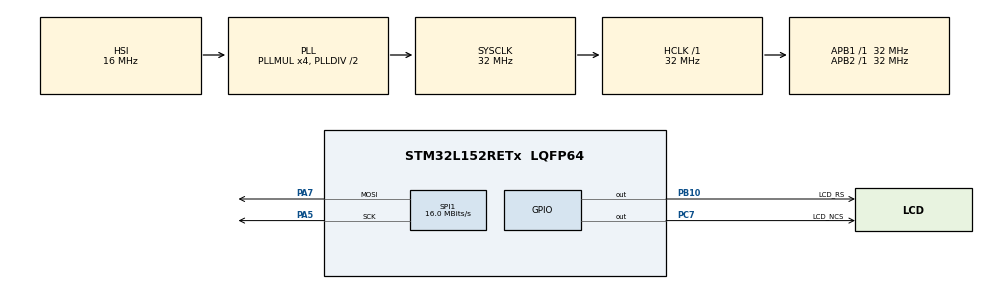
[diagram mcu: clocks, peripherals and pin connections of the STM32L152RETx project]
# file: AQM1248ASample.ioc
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Dma.Request0=SPI1_TX
Dma.SPI1_TX.0.Direction=DMA_MEMORY_TO_PERIPH
Dma.SPI1_TX.0.Instance=DMA1_Channel3
Dma.SPI1_TX.0.MemDataAlignment=DMA_MDATAALIGN_BYTE
Dma.SPI1_TX.0.MemInc=DMA_MINC_ENABLE
Dma.SPI1_TX.0.Mode=DMA_NORMAL
Dma.SPI1_TX.0.PeriphDataAlignment=DMA_PDATAALIGN_BYTE
Dma.SPI1_TX.0.PeriphInc=DMA_PINC_DISABLE
Dma.SPI1_TX.0.Priority=DMA_PRIORITY_LOW
Mcu.Family=STM32L1
Mcu.Name=STM32L152RETx
Mcu.Package=LQFP64
NVIC.DMA1_Channel3_IRQn=true\:0\:0\:false\:false\:true\:false
NVIC.PriorityGroup=NVIC_PRIORITYGROUP_4
PA13.Mode=Serial_Wire
PA13.Signal=SYS_JTMS-SWDIO
PA14.Mode=Serial_Wire
PA14.Signal=SYS_JTCK-SWCLK
PA5.Mode=TX_Only_Simplex_Unidirect_Master
PA5.Signal=SPI1_SCK
PA7.Mode=TX_Only_Simplex_Unidirect_Master
PA7.Signal=SPI1_MOSI
PB10.GPIO_Label=LCD_RS
PB10.Signal=GPIO_Output
PC14-OSC32_IN.Mode=LSE-External-Oscillator
PC14-OSC32_IN.Signal=RCC_OSC32_IN
PC15-OSC32_OUT.Mode=LSE-External-Oscillator
PC15-OSC32_OUT.Signal=RCC_OSC32_OUT
PC7.GPIO_Label=LCD_NCS
PC7.GPIO_PuPd=GPIO_NOPULL
PC7.Signal=GPIO_Output
PH0-OSC_IN.Mode=HSE-External-Oscillator
PH0-OSC_IN.Signal=RCC_OSC_IN
PH1-OSC_OUT.Mode=HSE-External-Oscillator
PH1-OSC_OUT.Signal=RCC_OSC_OUT
ProjectManager.HeapSize=0x200
ProjectManager.StackSize=0x400
ProjectManager.TargetToolchain=SW4STM32
RCC.48MHZClocksFreq_Value=32000000
RCC.AHBFreq_Value=32000000
RCC.APB1Freq_Value=32000000
RCC.APB1TimFreq_Value=32000000
RCC.APB2Freq_Value=32000000
RCC.APB2TimFreq_Value=32000000
RCC.HCLKFreq_Value=32000000
RCC.HSE_VALUE=24000000
RCC.HSI_VALUE=16000000
RCC.MSI_VALUE=2097000
RCC.PLLMUL=RCC_PLL_MUL4
RCC.SYSCLKFreq_VALUE=32000000
RCC.SYSCLKSource=RCC_SYSCLKSOURCE_PLLCLK
RCC.VCOOutputFreq_Value=64000000
SPI1.CalculateBaudRate=16.0 MBits/s
SPI1.Direction=SPI_DIRECTION_2LINES
SPI1.Mode=SPI_MODE_MASTER
SPI1.VirtualType=VM_MASTER
board=custom

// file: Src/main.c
/**
  ******************************************************************************
  * @file           : main.c
  * @brief          : Main program body
  ******************************************************************************
  ** This notice applies to any and all portions of this file
  * that are not between comment pairs USER CODE BEGIN and
  * USER CODE END. Other portions of this file, whether
  * inserted by the user or by software development tools
  * are owned by their respective copyright owners.
  *
  * COPYRIGHT(c) 2018 STMicroelectronics
  *
  * Redistribution and use in source and binary forms, with or without modification,
  * are permitted provided that the following conditions are met:
  *   1. Redistributions of source code must retain the above copyright notice,
  *      this list of conditions and the following disclaimer.
  *   2. Redistributions in binary form must reproduce the above copyright notice,
  *      this list of conditions and the following disclaimer in the documentation
  *      and/or other materials provided with the distribution.
  *   3. Neither the name of STMicroelectronics nor the names of its contributors
  *      may be used to endorse or promote products derived from this software
  *      without specific prior written permission.
  *
  * THIS SOFTWARE IS PROVIDED BY THE COPYRIGHT HOLDERS AND CONTRIBUTORS "AS IS"
  * AND ANY EXPRESS OR IMPLIED WARRANTIES, INCLUDING, BUT NOT LIMITED TO, THE
  * IMPLIED WARRANTIES OF MERCHANTABILITY AND FITNESS FOR A PARTICULAR PURPOSE ARE
  * DISCLAIMED. IN NO EVENT SHALL THE COPYRIGHT HOLDER OR CONTRIBUTORS BE LIABLE
  * FOR ANY DIRECT, INDIRECT, INCIDENTAL, SPECIAL, EXEMPLARY, OR CONSEQUENTIAL
  * DAMAGES (INCLUDING, BUT NOT LIMITED TO, PROCUREMENT OF SUBSTITUTE GOODS OR
  * SERVICES; LOSS OF USE, DATA, OR PROFITS; OR BUSINESS INTERRUPTION) HOWEVER
  * CAUSED AND ON ANY THEORY OF LIABILITY, WHETHER IN CONTRACT, STRICT LIABILITY,
  * OR TORT (INCLUDING NEGLIGENCE OR OTHERWISE) ARISING IN ANY WAY OUT OF THE USE
  * OF THIS SOFTWARE, EVEN IF ADVISED OF THE POSSIBILITY OF SUCH DAMAGE.
  *
  ******************************************************************************
  */
#include "main.h"
#include "stm32l1xx_hal.h"

SPI_HandleTypeDef hspi1;
DMA_HandleTypeDef hdma_spi1_tx;

/* USER CODE BEGIN PV */
/* Private variables ---------------------------------------------------------*/

/* USER CODE END PV */

void SystemClock_Config(void);
static void MX_GPIO_Init(void);
static void MX_DMA_Init(void);
static void MX_SPI1_Init(void);

/* USER CODE BEGIN PFP */
/* Private function prototypes -----------------------------------------------*/

/* USER CODE END PFP */

/* USER CODE BEGIN 0 */

static const uint8_t display_data[768] = {
    // page 0
    0xff, 0xff, 0x07, 0x07, 0x07, 0xff, 0xff, 0xff, 0xff, 0xff, 0xff, 0xff, 0xff, 0xff, 0xff, 0xff,
    0xff, 0xff, 0xff, 0x07, 0x07, 0x07, 0xff, 0xff, 0xff, 0xff, 0xff, 0xff, 0xff, 0xff, 0xff, 0xff,
    0xff, 0xff, 0xff, 0xff, 0xff, 0xff, 0xff, 0xff, 0xff, 0xff, 0xff, 0xff, 0xff, 0xff, 0xff, 0xff,
    0xff, 0x01, 0x01, 0x01, 0xff, 0xff, 0xff, 0xff, 0xff, 0xff, 0x01, 0x01, 0x01, 0xff, 0xff, 0xff,
    0xff, 0xff, 0xff, 0xff, 0xff, 0xff, 0xff, 0xff, 0xff, 0xff, 0xff, 0xff, 0xff, 0xff, 0xff, 0xff,
    0xff, 0xff, 0xff, 0xff, 0xff, 0xff, 0xff, 0xff, 0xff, 0xff, 0xff, 0xff, 0xff, 0xff, 0xff, 0xff,
    0xff, 0xff, 0xff, 0xff, 0xff, 0xff, 0xff, 0xff, 0xff, 0xff, 0xff, 0xff, 0xff, 0xff, 0xff, 0xff,
    0xff, 0xff, 0xff, 0xff, 0xff, 0xff, 0xff, 0xff, 0xff, 0xff, 0xff, 0xff, 0xff, 0xff, 0xff, 0xff,

    // page 1
    0xff, 0xff, 0x00, 0x00, 0x00, 0x1f, 0x1f, 0x1f, 0x1f, 0x1f, 0x1f, 0x1f, 0x1f, 0x1f, 0x1f, 0x1f,
    0x1f, 0x1f, 0x1f, 0x00, 0x00, 0x00, 0xff, 0xff, 0xff, 0xff, 0xff, 0x3f, 0x0f, 0x07, 0xc3, 0xe1,
    0xf1, 0xf8, 0xf8, 0xf8, 0xf8, 0xf8, 0xf0, 0xf1, 0xc1, 0x03, 0x07, 0x1f, 0xff, 0xff, 0xff, 0xff,
    0xff, 0x00, 0x00, 0x00, 0xff, 0xff, 0xff, 0xff, 0xff, 0xff, 0x00, 0x00, 0x00, 0xff, 0xff, 0xff,
    0xff, 0xff, 0x3f, 0x0f, 0x03, 0xc3, 0xe1, 0xf0, 0xf8, 0xf8, 0xf8, 0xf8, 0xf8, 0xf1, 0xe1, 0x83,
    0x03, 0x0f, 0x3f, 0xff, 0xff, 0xff, 0xff, 0xff, 0xff, 0xff, 0xff, 0xff, 0xff, 0xff, 0xff, 0xff,
    0xff, 0xff, 0xff, 0xff, 0xff, 0xff, 0xff, 0xff, 0xff, 0xff, 0xff, 0xff, 0xff, 0xff, 0xff, 0xff,
    0xff, 0xff, 0xff, 0xff, 0xff, 0xff, 0xff, 0xff, 0xff, 0xff, 0xff, 0xff, 0xff, 0xff, 0xff, 0xff,

    // page 2
    0xff, 0xff, 0x00, 0x00, 0x00, 0xff, 0xff, 0xff, 0xff, 0xff, 0xff, 0xff, 0xff, 0xff, 0xff, 0xff,
    0xff, 0xff, 0xff, 0x00, 0x00, 0x00, 0xff, 0xff, 0xff, 0xff, 0xff, 0xc0, 0x00, 0x00, 0x38, 0x78,
    0xf8, 0xf8, 0xf8, 0x38, 0x38, 0x38, 0x78, 0xf8, 0xf8, 0xf8, 0xf8, 0x78, 0xff, 0xff, 0xff, 0xff,
    0x7f, 0x00, 0x00, 0x00, 0x7f, 0xff, 0xff, 0xff, 0xff, 0xff, 0x00, 0x00, 0x00, 0xff, 0x7f, 0x3f,
    0x3f, 0x3f, 0xc0, 0x00, 0x00, 0x3f, 0x7f, 0xff, 0xff, 0xff, 0xff, 0xff, 0xff, 0xff, 0x7f, 0x1f,
    0x00, 0x00, 0xc0, 0xff, 0xff, 0xff, 0xff, 0xff, 0xff, 0xff, 0xff, 0xff, 0xff, 0xff, 0xff, 0xff,
    0xff, 0xff, 0xff, 0xff, 0xff, 0xff, 0x1f, 0x1f, 0x1f, 0xff, 0xff, 0xff, 0xff, 0xff, 0xff, 0xff,
    0xff, 0xff, 0xff, 0xff, 0xff, 0xff, 0xff, 0xff, 0xff, 0xff, 0xff, 0x1f, 0x1f, 0x1f, 0xff, 0xff,

    // page 3
    0xff, 0xff, 0xf0, 0xf0, 0xf0, 0xff, 0xff, 0xff, 0xff, 0xff, 0xff, 0xff, 0xff, 0xff, 0xff, 0xff,
    0xff, 0xff, 0xff, 0xf0, 0xf0, 0xf0, 0xff, 0xff, 0xff, 0xff, 0xff, 0xff, 0xff, 0xfe, 0xfc, 0xf8,
    0xf8, 0xf0, 0xf1, 0xf1, 0xf0, 0x80, 0x00, 0x01, 0x70, 0xf8, 0xf8, 0xf8, 0xff, 0xff, 0x7f, 0x07,
    0x00, 0xc0, 0xf0, 0xc0, 0x00, 0x07, 0x7f, 0xff, 0xff, 0xff, 0xf0, 0xf0, 0x70, 0x07, 0x00, 0x80,
    0xf0, 0xff, 0xff, 0xff, 0x3c, 0x1c, 0x08, 0x88, 0x81, 0xc1, 0xc1, 0xc1, 0xc1, 0x80, 0x88, 0x0c,
    0x1c, 0x7f, 0xff, 0xff, 0xff, 0xff, 0xff, 0xff, 0x0f, 0x0f, 0x0f, 0x3f, 0x3f, 0x1f, 0x8f, 0x8f,
    0x8f, 0x8f, 0x8f, 0xff, 0xff, 0xff, 0x00, 0x00, 0x00, 0xff, 0xff, 0xff, 0xff, 0xff, 0xff, 0x7f,
    0x1f, 0x1f, 0x0f, 0x8f, 0xc7, 0xc7, 0xc7, 0xc7, 0xc7, 0xcf, 0x8f, 0x00, 0x00, 0x00, 0xff, 0xff,

    // page 4
    0xff, 0xff, 0xff, 0xff, 0xff, 0xff, 0xff, 0xff, 0xff, 0xff, 0xff, 0xff, 0xff, 0xff, 0xff, 0xff,
    0xff, 0xff, 0xff, 0xff, 0xff, 0xff, 0xff, 0xff, 0xff, 0xff, 0xff, 0xff, 0xff, 0xff, 0xff, 0xff,
    0xff, 0xff, 0xff, 0xff, 0xff, 0xff, 0xf8, 0xc0, 0x00, 0x03, 0x3f, 0xff, 0x7f, 0x07, 0x00, 0xc0,
    0xfc, 0xff, 0xff, 0xff, 0xfc, 0xc0, 0x00, 0x03, 0x3f, 0xff, 0x3f, 0x07, 0x00, 0x80, 0xf8, 0xff,
    0xff, 0xff, 0xff, 0x01, 0x00, 0x00, 0xfe, 0xff, 0xff, 0xff, 0xff, 0xff, 0xff, 0xff, 0xff, 0xfe,
    0x00, 0x00, 0x01, 0xff, 0xff, 0xff, 0xff, 0xff, 0x00, 0x00, 0x00, 0xfe, 0xff, 0xff, 0xff, 0xff,
    0xff, 0xff, 0xff, 0xff, 0xff, 0xff, 0x00, 0x00, 0x00, 0xff, 0xff, 0xff, 0xff, 0xff, 0x01, 0x00,
    0x00, 0xfe, 0xff, 0xff, 0xff, 0xff, 0xff, 0xff, 0xff, 0xff, 0xff, 0x00, 0x00, 0x00, 0xff, 0xff,

    // page 5
    0xff, 0xff, 0xff, 0xff, 0xff, 0xff, 0xff, 0xff, 0xff, 0xff, 0xff, 0xff, 0xff, 0xff, 0xff, 0xff,
    0xff, 0xff, 0xff, 0xff, 0xff, 0xff, 0xff, 0xff, 0xff, 0xff, 0xff, 0xff, 0xff, 0xff, 0xff, 0xff,
    0xff, 0xff, 0xff, 0xff, 0xff, 0xff, 0xff, 0xff, 0xfc, 0xc0, 0xc0, 0xc1, 0xc0, 0xe0, 0xfe, 0xff,
    0xff, 0xff, 0xff, 0xff, 0xff, 0xff, 0xfe, 0xe0, 0xc0, 0xc3, 0xc0, 0xc0, 0xfc, 0xff, 0xff, 0xff,
    0xff, 0xff, 0xff, 0xff, 0xf8, 0xf0, 0xe0, 0xe3, 0xc3, 0xc7, 0xc7, 0xc7, 0xc7, 0xc3, 0xe3, 0xe0,
    0xf0, 0xf8, 0xff, 0xff, 0xff, 0xff, 0xff, 0xff, 0xc0, 0xc0, 0xc0, 0xff, 0xff, 0xff, 0xff, 0xff,
    0xff, 0xff, 0xff, 0xff, 0xff, 0xff, 0xc0, 0xc0, 0xc0, 0xff, 0xff, 0xff, 0xff, 0xff, 0xfe, 0xf8,
    0xf0, 0xe0, 0xe3, 0xc7, 0xc7, 0xc7, 0xc7, 0xc7, 0xe3, 0xe3, 0xf1, 0xc0, 0xc0, 0xc0, 0xff, 0xff,
};

#include "lcd.h"

/* USER CODE END 0 */

int main(void)
{

  /* MCU Configuration----------------------------------------------------------*/

  /* Reset of all peripherals, Initializes the Flash interface and the Systick. */
  HAL_Init();

  /* Configure the system clock */
  SystemClock_Config();

  /* Initialize all configured peripherals */
  MX_GPIO_Init();
  MX_DMA_Init();
  MX_SPI1_Init();
  /* USER CODE BEGIN 2 */

  LCD_init();

  /* USER CODE END 2 */

  /* Infinite loop */
  /* USER CODE BEGIN WHILE */
  while (1)
  {
      int i;
      for (i=0; i< 6; i++) {
          LCD_setPageAddress(i);
          LCD_setColumnAddress(0);
          LCD_writeDisplayData(display_data + 128 * i , 128);
      }

      HAL_Delay(100);

  /* USER CODE END WHILE */

  }

}

void SystemClock_Config(void)
{

  RCC_OscInitTypeDef RCC_OscInitStruct;
  RCC_ClkInitTypeDef RCC_ClkInitStruct;

    /**Configure the main internal regulator output voltage
    */
  __HAL_PWR_VOLTAGESCALING_CONFIG(PWR_REGULATOR_VOLTAGE_SCALE1);

    /**Initializes the CPU, AHB and APB busses clocks
    */
  RCC_OscInitStruct.OscillatorType = RCC_OSCILLATORTYPE_HSI;
  RCC_OscInitStruct.HSIState = RCC_HSI_ON;
  RCC_OscInitStruct.HSICalibrationValue = 16;
  RCC_OscInitStruct.PLL.PLLState = RCC_PLL_ON;
  RCC_OscInitStruct.PLL.PLLSource = RCC_PLLSOURCE_HSI;
  RCC_OscInitStruct.PLL.PLLMUL = RCC_PLL_MUL4;
  RCC_OscInitStruct.PLL.PLLDIV = RCC_PLL_DIV2;
  if (HAL_RCC_OscConfig(&RCC_OscInitStruct) != HAL_OK)
  {
    _Error_Handler(__FILE__, __LINE__);
  }

    /**Initializes the CPU, AHB and APB busses clocks
    */
  RCC_ClkInitStruct.ClockType = RCC_CLOCKTYPE_HCLK|RCC_CLOCKTYPE_SYSCLK
                              |RCC_CLOCKTYPE_PCLK1|RCC_CLOCKTYPE_PCLK2;
  RCC_ClkInitStruct.SYSCLKSource = RCC_SYSCLKSOURCE_PLLCLK;
  RCC_ClkInitStruct.AHBCLKDivider = RCC_SYSCLK_DIV1;
  RCC_ClkInitStruct.APB1CLKDivider = RCC_HCLK_DIV1;
  RCC_ClkInitStruct.APB2CLKDivider = RCC_HCLK_DIV1;

  if (HAL_RCC_ClockConfig(&RCC_ClkInitStruct, FLASH_LATENCY_1) != HAL_OK)
  {
    _Error_Handler(__FILE__, __LINE__);
  }

    /**Configure the Systick interrupt time
    */
  HAL_SYSTICK_Config(HAL_RCC_GetHCLKFreq()/1000);

    /**Configure the Systick
    */
  HAL_SYSTICK_CLKSourceConfig(SYSTICK_CLKSOURCE_HCLK);

  /* SysTick_IRQn interrupt configuration */
  HAL_NVIC_SetPriority(SysTick_IRQn, 0, 0);
}

/* SPI1 init function */
static void MX_SPI1_Init(void)
{

  /* SPI1 parameter configuration*/
  hspi1.Instance = SPI1;
  hspi1.Init.Mode = SPI_MODE_MASTER;
  hspi1.Init.Direction = SPI_DIRECTION_2LINES;
  hspi1.Init.DataSize = SPI_DATASIZE_8BIT;
  hspi1.Init.CLKPolarity = SPI_POLARITY_LOW;
  hspi1.Init.CLKPhase = SPI_PHASE_1EDGE;
  hspi1.Init.NSS = SPI_NSS_SOFT;
  hspi1.Init.BaudRatePrescaler = SPI_BAUDRATEPRESCALER_2;
  hspi1.Init.FirstBit = SPI_FIRSTBIT_MSB;
  hspi1.Init.TIMode = SPI_TIMODE_DISABLE;
  hspi1.Init.CRCCalculation = SPI_CRCCALCULATION_DISABLE;
  hspi1.Init.CRCPolynomial = 10;
  if (HAL_SPI_Init(&hspi1) != HAL_OK)
  {
    _Error_Handler(__FILE__, __LINE__);
  }

}

static void MX_DMA_Init(void)
{
  /* DMA controller clock enable */
  __HAL_RCC_DMA1_CLK_ENABLE();

  /* DMA interrupt init */
  /* DMA1_Channel3_IRQn interrupt configuration */
  HAL_NVIC_SetPriority(DMA1_Channel3_IRQn, 0, 0);
  HAL_NVIC_EnableIRQ(DMA1_Channel3_IRQn);

}

/** Configure pins as
        * Analog
        * Input
        * Output
        * EVENT_OUT
        * EXTI
*/
static void MX_GPIO_Init(void)
{

  GPIO_InitTypeDef GPIO_InitStruct;

  /* GPIO Ports Clock Enable */
  __HAL_RCC_GPIOC_CLK_ENABLE();
  __HAL_RCC_GPIOH_CLK_ENABLE();
  __HAL_RCC_GPIOA_CLK_ENABLE();
  __HAL_RCC_GPIOB_CLK_ENABLE();

  /*Configure GPIO pin Output Level */
  HAL_GPIO_WritePin(LCD_RS_GPIO_Port, LCD_RS_Pin, GPIO_PIN_RESET);

  /*Configure GPIO pin Output Level */
  HAL_GPIO_WritePin(LCD_NCS_GPIO_Port, LCD_NCS_Pin, GPIO_PIN_RESET);

  /*Configure GPIO pin : LCD_RS_Pin */
  GPIO_InitStruct.Pin = LCD_RS_Pin;
  GPIO_InitStruct.Mode = GPIO_MODE_OUTPUT_PP;
  GPIO_InitStruct.Pull = GPIO_NOPULL;
  GPIO_InitStruct.Speed = GPIO_SPEED_FREQ_LOW;
  HAL_GPIO_Init(LCD_RS_GPIO_Port, &GPIO_InitStruct);

  /*Configure GPIO pin : LCD_NCS_Pin */
  GPIO_InitStruct.Pin = LCD_NCS_Pin;
  GPIO_InitStruct.Mode = GPIO_MODE_OUTPUT_PP;
  GPIO_InitStruct.Pull = GPIO_NOPULL;
  GPIO_InitStruct.Speed = GPIO_SPEED_FREQ_LOW;
  HAL_GPIO_Init(LCD_NCS_GPIO_Port, &GPIO_InitStruct);

}

void _Error_Handler(char *file, int line)
{
  while(1)
  {
  }
}

/************************ (C) COPYRIGHT STMicroelectronics *****END OF FILE****/
